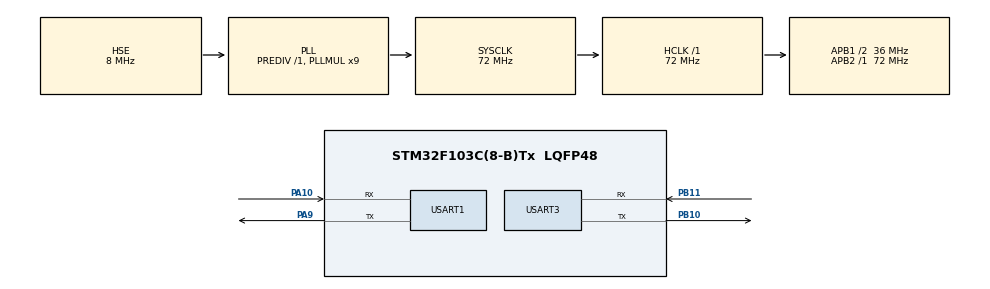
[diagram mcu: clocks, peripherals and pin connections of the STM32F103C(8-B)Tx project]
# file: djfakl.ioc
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Mcu.Family=STM32F1
Mcu.Name=STM32F103C(8-B)Tx
Mcu.Package=LQFP48
NVIC.PriorityGroup=NVIC_PRIORITYGROUP_4
NVIC.USART1_IRQn=true\:0\:0\:false\:false\:true\:true\:true\:true
NVIC.USART3_IRQn=true\:0\:0\:false\:false\:true\:true\:true\:true
PA10.Mode=Asynchronous
PA10.Signal=USART1_RX
PA13.Mode=Serial_Wire
PA13.Signal=SYS_JTMS-SWDIO
PA14.Mode=Serial_Wire
PA14.Signal=SYS_JTCK-SWCLK
PA9.Mode=Asynchronous
PA9.Signal=USART1_TX
PB10.Mode=Asynchronous
PB10.Signal=USART3_TX
PB11.Mode=Asynchronous
PB11.Signal=USART3_RX
PD0-OSC_IN.Mode=HSE-External-Oscillator
PD0-OSC_IN.Signal=RCC_OSC_IN
PD1-OSC_OUT.Mode=HSE-External-Oscillator
PD1-OSC_OUT.Signal=RCC_OSC_OUT
ProjectManager.HeapSize=0x200
ProjectManager.StackSize=0x400
ProjectManager.TargetToolchain=MDK-ARM V5.32
RCC.AHBFreq_Value=72000000
RCC.APB1CLKDivider=RCC_HCLK_DIV2
RCC.APB1Freq_Value=36000000
RCC.APB1TimFreq_Value=72000000
RCC.APB2Freq_Value=72000000
RCC.APB2TimFreq_Value=72000000
RCC.HCLKFreq_Value=72000000
RCC.PLLMUL=RCC_PLL_MUL9
RCC.PLLSourceVirtual=RCC_PLLSOURCE_HSE
RCC.SYSCLKFreq_VALUE=72000000
RCC.SYSCLKSource=RCC_SYSCLKSOURCE_PLLCLK
RCC.USBFreq_Value=72000000
USART1.VirtualMode=VM_ASYNC
USART3.VirtualMode=VM_ASYNC
board=custom

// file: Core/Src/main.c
/* USER CODE BEGIN Header */
/**
  ******************************************************************************
  * @file           : main.c
  * @brief          : Main program body
  ******************************************************************************
  * @attention
  *
  * Copyright (c) 2025 STMicroelectronics.
  * All rights reserved.
  *
  * This software is licensed under terms that can be found in the LICENSE file
  * in the root directory of this software component.
  * If no LICENSE file comes with this software, it is provided AS-IS.
  *
  ******************************************************************************
  */
/* USER CODE END Header */
#include "main.h"
#include "usart.h"
#include "gpio.h"

/* USER CODE BEGIN Includes */
#include <stdio.h>
#include "uart_receive.h"
/* USER CODE END Includes */

/* USER CODE BEGIN PTD */
uint8_t Usart3_Receive_buf[1];
/* USER CODE END PTD */

void SystemClock_Config(void);

/* USER CODE BEGIN 0 */
int fputc(int ch, FILE *f)
{

  HAL_UART_Transmit(&huart1, (uint8_t *)&ch, 1, 0xffff);

  return ch;

}
void HAL_UART_RxCpltCallback(UART_HandleTypeDef *huart)
{
		uint8_t temp_data;
		if(huart -> Instance == USART3)
		{
				temp_data = Usart3_Receive_buf[0];
				UART3_DataParser(temp_data);
				HAL_UART_Receive_IT(&huart3,Usart3_Receive_buf,sizeof(Usart3_Receive_buf));
		}
}
/* USER CODE END 0 */

int main(void)
{

  /* MCU Configuration--------------------------------------------------------*/

  /* Reset of all peripherals, Initializes the Flash interface and the Systick. */
  HAL_Init();

  /* Configure the system clock */
  SystemClock_Config();

  /* Initialize all configured peripherals */
  MX_GPIO_Init();
  MX_USART1_UART_Init();
  MX_USART3_UART_Init();
  /* USER CODE BEGIN 2 */
	HAL_UART_Receive_IT(&huart3,Usart3_Receive_buf,sizeof(Usart3_Receive_buf));

  /* USER CODE END 2 */

  /* Infinite loop */
  /* USER CODE BEGIN WHILE */
  while (1)
  {
		int16_t move_x = (circle_data.x - 80)/2;
		int16_t move_y = (circle_data.y - 60)/2;
		if(move_x <= 5 && move_x >= -5) move_x = 0;
		if(move_y <= 5 && move_y >= -5) move_y = 0;
		printf("move_x: %d  move_y: %d\n", move_x, move_y);
		printf("x: %d  y: %d  h: %d\n", position_data.x, position_data.y, position_data.h);
		printf("angle 0: %d  90: %d  180: %d  270: %d\n", lidar_data.dis[0], lidar_data.dis[1], lidar_data.dis[2], lidar_data.dis[3]);
		printf("\n\n\n");
		HAL_Delay(500);
    /* USER CODE END WHILE */

  }
}

void SystemClock_Config(void)
{
  RCC_OscInitTypeDef RCC_OscInitStruct = {0};
  RCC_ClkInitTypeDef RCC_ClkInitStruct = {0};

  /** Initializes the RCC Oscillators according to the specified parameters
  * in the RCC_OscInitTypeDef structure.
  */
  RCC_OscInitStruct.OscillatorType = RCC_OSCILLATORTYPE_HSE;
  RCC_OscInitStruct.HSEState = RCC_HSE_ON;
  RCC_OscInitStruct.HSEPredivValue = RCC_HSE_PREDIV_DIV1;
  RCC_OscInitStruct.HSIState = RCC_HSI_ON;
  RCC_OscInitStruct.PLL.PLLState = RCC_PLL_ON;
  RCC_OscInitStruct.PLL.PLLSource = RCC_PLLSOURCE_HSE;
  RCC_OscInitStruct.PLL.PLLMUL = RCC_PLL_MUL9;
  if (HAL_RCC_OscConfig(&RCC_OscInitStruct) != HAL_OK)
  {
    Error_Handler();
  }

  /** Initializes the CPU, AHB and APB buses clocks
  */
  RCC_ClkInitStruct.ClockType = RCC_CLOCKTYPE_HCLK|RCC_CLOCKTYPE_SYSCLK
                              |RCC_CLOCKTYPE_PCLK1|RCC_CLOCKTYPE_PCLK2;
  RCC_ClkInitStruct.SYSCLKSource = RCC_SYSCLKSOURCE_PLLCLK;
  RCC_ClkInitStruct.AHBCLKDivider = RCC_SYSCLK_DIV1;
  RCC_ClkInitStruct.APB1CLKDivider = RCC_HCLK_DIV2;
  RCC_ClkInitStruct.APB2CLKDivider = RCC_HCLK_DIV1;

  if (HAL_RCC_ClockConfig(&RCC_ClkInitStruct, FLASH_LATENCY_2) != HAL_OK)
  {
    Error_Handler();
  }
}

void Error_Handler(void)
{
  __disable_irq();
  while (1)
  {
  }
}
